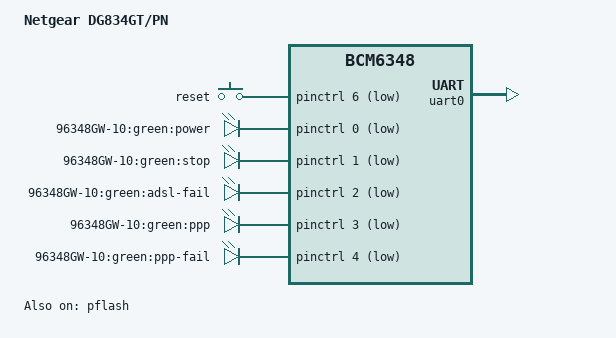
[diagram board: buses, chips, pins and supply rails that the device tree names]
/dts-v1/;

#include "bcm6348.dtsi"

#include <dt-bindings/input/input.h>

/ {
	model = "Netgear DG834GT/PN";
	compatible = "netgear,dg834gt-pn", "brcm,bcm6348";

	chosen {
		bootargs = "rootfstype=squashfs,jffs2 noinitrd console=ttyS0,115200";
		stdout-path = "serial0:115200n8";
	};

	keys {
		compatible = "gpio-keys-polled";
		#address-cells = <1>;
		#size-cells = <0>;
		poll-interval = <20>;

		reset {
			label = "reset";
			gpios = <&pinctrl 6 1>;
			linux,code = <KEY_RESTART>;
			debounce-interval = <60>;
		};
	};

	leds {
		compatible = "gpio-leds";

		power_green {
			label = "96348GW-10:green:power";
			gpios = <&pinctrl 0 1>;
			default-state = "on";
		};
		stop_green {
			label = "96348GW-10:green:stop";
			gpios = <&pinctrl 1 1>;
		};
		adsl_fail_green {
			label = "96348GW-10:green:adsl-fail";
			gpios = <&pinctrl 2 1>;
		};
		ppp_green {
			label = "96348GW-10:green:ppp";
			gpios = <&pinctrl 3 1>;
		};
		ppp_fail_green {
			label = "96348GW-10:green:ppp-fail";
			gpios = <&pinctrl 4 1>;
		};
	};
};

&pflash {
	status = "okay";

	partitions {
		compatible = "fixed-partitions";
		#address-cells = <1>;
		#size-cells = <1>;

		cfe@0 {
			label = "CFE";
			reg = <0x000000 0x010000>;
			read-only;
		};

		linux@10000 {
			label = "linux";
			reg = <0x010000 0x3e0000>;
			compatible = "brcm,bcm963xx-imagetag";
		};

		nvram@3f0000 {
			label = "nvram";
			reg = <0x3f0000 0x010000>;
		};
	};
};

&pinctrl {
	pinctrl-names = "default";
	pinctrl-0 = <&pinctrl_pci &pinctrl_ext_mii &pinctrl_mii_pccard>;
};

&uart0 {
	status = "okay";
};
